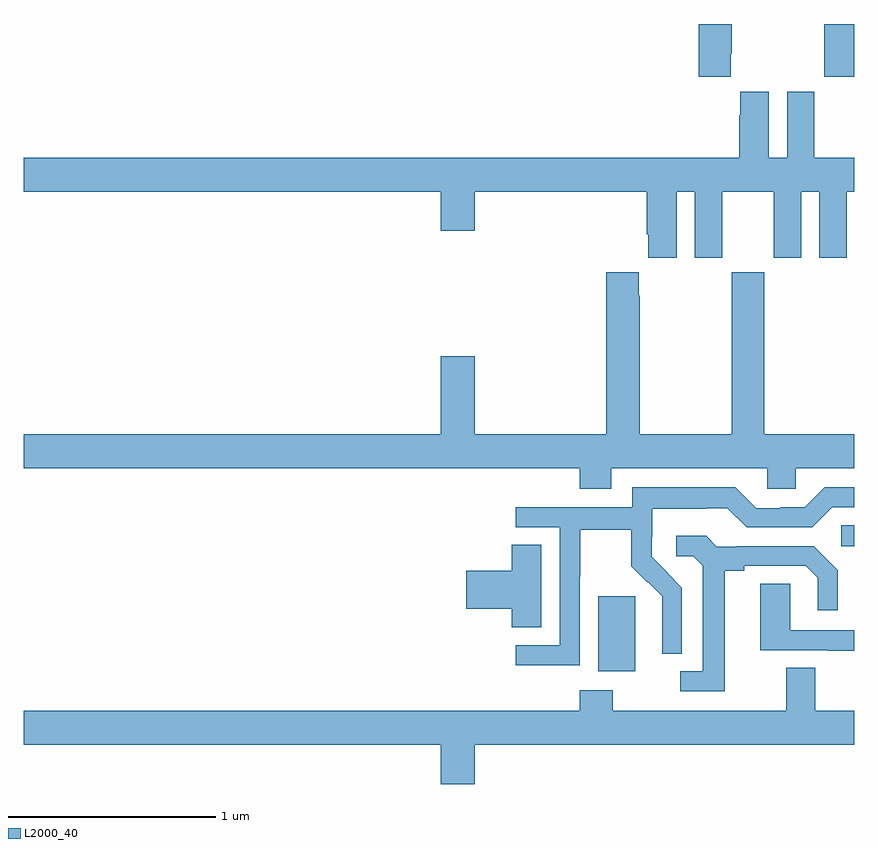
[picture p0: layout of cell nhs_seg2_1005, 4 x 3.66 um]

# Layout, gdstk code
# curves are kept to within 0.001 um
import gdstk
lib = gdstk.Library(unit=1e-6, precision=1e-09)
def R(c, l, rs):  # rectangles x0, y0, x1, y1
    for r in rs: c.add(gdstk.rectangle(r[:2], r[2:], *l))
def P(c, l, *ps):  # polygons
    for p in ps: c.add(gdstk.Polygon(p, *l))
L2000_40 = (2000, 40)

nhs_seg2_1005 = lib.new_cell('nhs_seg2_1005')
R(nhs_seg2_1005, L2000_40, [(165.767,622.682,165.946,623.043), (166.938,623.286,167,623.387), (166.855,625.545,167,625.8)])
P(nhs_seg2_1005, L2000_40, [(166.405,625.657),(166.41,625.657),(166.41,625.8),(166.25,625.8),(166.25,625.545),(166.405,625.545)],
  [(166.144,624.992),(166.232,624.992),(166.232,624.675),(166.363,624.675),(166.363,624.992),(166.613,624.992),(166.613,624.675),(166.744,624.675),(166.744,624.992),(166.832,624.992),(166.832,624.675),(166.963,624.675),(166.963,624.992),(167,624.992),(167,625.156),(166.807,625.156),(166.807,625.474),(166.676,625.474),(166.676,625.156),(166.588,625.156),(166.588,625.474),(166.451,625.474),(166.451,625.361),(166.445,625.361),(166.445,625.156),(163,625.156),(163,624.992),(165.008,624.992),(165.008,624.804),(165.172,624.804),(165.172,624.992),(166.001,624.992),(166.001,624.787),(166.007,624.787),(166.007,624.675),(166.144,624.675)],
  [(165.829,623.66),(166.581,623.66),(166.581,623.562),(166.719,623.562),(166.719,623.66),(167,623.66),(167,623.824),(166.566,623.824),(166.566,624.604),(166.411,624.604),(166.411,623.824),(165.966,623.824),(165.966,624.491),(165.961,624.491),(165.961,624.604),(165.806,624.604),(165.806,623.824),(165.172,623.824),(165.172,624.199),(165.008,624.199),(165.008,623.824),(163,623.824),(163,623.66),(165.677,623.66),(165.677,623.561),(165.829,623.561)],
  [(165.678,623.14),(165.681,623.14),(165.681,623.364),(165.925,623.364),(165.925,623.189),(166.002,623.112),(166.005,623.115),(166.076,623.045),(166.076,622.922),(166.074,622.922),(166.074,622.768),(166.17,622.768),(166.17,623.086),(166.024,623.234),(166.024,623.331),(166.026,623.331),(166.026,623.465),(166.289,623.465),(166.289,623.469),(166.389,623.469),(166.482,623.376),(166.797,623.376),(166.893,623.472),(167,623.472),(167,623.568),(166.857,623.568),(166.761,623.472),(166.643,623.472),(166.643,623.469),(166.527,623.469),(166.427,623.569),(165.93,623.569),(165.93,623.472),(165.369,623.472),(165.369,623.376),(165.582,623.376),(165.582,622.809),(165.369,622.809),(165.369,622.711),(165.678,622.711)],
  [(166.375,623.168),(166.471,623.168),(166.471,623.19),(166.766,623.19),(166.823,623.133),(166.823,622.977),(166.92,622.977),(166.92,623.17),(166.804,623.286),(166.432,623.286),(166.432,623.283),(166.338,623.283),(166.286,623.335),(166.143,623.335),(166.143,623.238),(166.224,623.238),(166.271,623.191),(166.271,622.683),(166.161,622.683),(166.161,622.587),(166.375,622.587)],
  [(165.493,623.291),(165.35,623.291),(165.35,623.168),(165.132,623.168),(165.132,622.985),(165.35,622.985),(165.35,622.894),(165.493,622.894)],
  [(167,622.881),(166.692,622.881),(166.692,623.105),(166.547,623.105),(166.547,622.785),(166.871,622.785),(166.871,622.781),(167,622.781)],
  [(165.172,622.328),(167,622.328),(167,622.492),(166.813,622.492),(166.813,622.7),(166.673,622.7),(166.673,622.492),(165.837,622.492),(165.837,622.591),(165.677,622.591),(165.677,622.492),(163,622.492),(163,622.328),(165.008,622.328),(165.008,622.14),(165.172,622.14)])

lib.write_gds('nhs_seg2_1005.gds')
